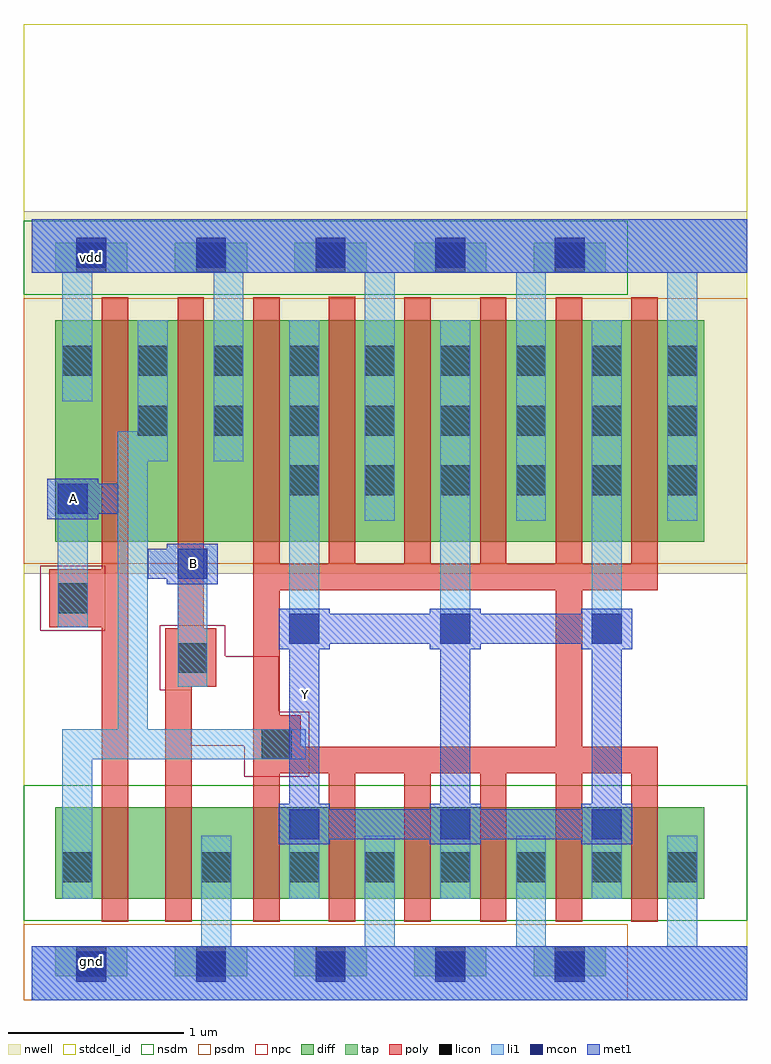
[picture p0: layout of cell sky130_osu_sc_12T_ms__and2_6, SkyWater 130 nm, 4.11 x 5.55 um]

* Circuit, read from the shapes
.subckt sky130_osu_sc_12T_ms__and2_6 A B Y gnd vdd
XM1 n1 A n2 gnd sky130_fd_pr__nfet_01v8 w=0.52 l=0.15
XM2 gnd B n1 gnd sky130_fd_pr__nfet_01v8 w=0.52 l=0.15
XM3 Y n2 gnd gnd sky130_fd_pr__nfet_01v8 w=0.52 l=0.15 m=6
XM4 n2 A vdd vdd sky130_fd_pr__pfet_01v8 w=1.26 l=0.15
XM5 vdd B n2 vdd sky130_fd_pr__pfet_01v8 w=1.26 l=0.15
XM6 Y n2 vdd vdd sky130_fd_pr__pfet_01v8 w=1.26 l=0.15 m=6
.ends

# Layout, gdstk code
import gdstk
lib = gdstk.Library(unit=1e-6, precision=1e-09)
def R(c, l, rs):  # rectangles x0, y0, x1, y1
    for r in rs: c.add(gdstk.rectangle(r[:2], r[2:], *l))
def A(c, l, x, y, w, h, nx, ny, dx, dy):  # array of equal rectangles
    R(c, l, [(x+i*dx, y+j*dy, x+i*dx+w, y+j*dy+h) for i in range(nx) for j in range(ny)])
nwell = (64, 20)
diff = (65, 20)
tap = (65, 44)
poly = (66, 20)
licon = (66, 44)
li1 = (67, 20)
mcon = (67, 44)
met1 = (68, 20)
stdcell_id = (81, 4)
nsdm = (93, 44)
psdm = (94, 20)
npc = (95, 20)

sky130_osu_sc_12t_ms__an = lib.new_cell('sky130_osu_sc_12T_ms__and2_6')
R(sky130_osu_sc_12t_ms__an, nwell, [(-0.045,2.425,4.07,4.485)])
R(sky130_osu_sc_12t_ms__an, diff, [(0.135,0.575,3.825,1.095), (0.135,2.605,3.825,3.865)])
A(sky130_osu_sc_12t_ms__an, tap, 0.135, 0.135, 0.41, 0.17, 5, 2, 0.68, 4)
A(sky130_osu_sc_12t_ms__an, poly, 1.26, 0.445, 0.15, 0.845, 6, 1, 0.43, 0)
A(sky130_osu_sc_12t_ms__an, poly, 2.12, 2.48, 0.15, 1.515, 4, 1, 0.43, 0)
R(sky130_osu_sc_12t_ms__an, poly, [(0.4,0.445,0.55,2.12), (0.76,0.445,0.91,1.78), (1.26,1.29,3.56,1.44), (1.26,1.44,1.53,1.62), (2.98,1.44,3.13,2.33), (1.26,1.62,1.41,2.33), (0.76,1.78,1.05,2.115), (0.83,2.115,0.98,3.995), (0.1,2.12,0.55,2.45), (1.26,2.33,3.56,2.48), (0.4,2.45,0.55,3.995), (1.26,2.48,1.41,3.995), (1.69,2.48,1.84,4)])
A(sky130_osu_sc_12t_ms__an, licon, 0.255, 0.135, 0.17, 0.17, 5, 2, 0.68, 4)
A(sky130_osu_sc_12t_ms__an, licon, 1.465, 0.67, 0.17, 0.17, 6, 2, 0.43, 2.2)
A(sky130_osu_sc_12t_ms__an, licon, 0.605, 3.21, 0.17, 0.17, 8, 1, 0.43, 0)
A(sky130_osu_sc_12t_ms__an, licon, 0.175, 3.55, 0.17, 0.17, 9, 1, 0.43, 0)
R(sky130_osu_sc_12t_ms__an, licon, [(0.175,0.67,0.345,0.84), (0.965,0.67,1.135,0.84), (1.31,1.37,1.48,1.54), (0.83,1.86,1,2.03), (0.15,2.2,0.32,2.37)])
A(sky130_osu_sc_12t_ms__an, li1, 1.895, 0.305, 0.17, 0.63, 3, 1, 0.86, 0)
A(sky130_osu_sc_12t_ms__an, li1, 1.465, 0.575, 0.17, 0.51, 3, 1, 0.86, 0)
A(sky130_osu_sc_12t_ms__an, li1, 1.465, 2.025, 0.17, 1.84, 3, 1, 0.86, 0)
A(sky130_osu_sc_12t_ms__an, li1, 1.895, 2.725, 0.17, 1.41, 3, 1, 0.86, 0)
R(sky130_osu_sc_12t_ms__an, li1, [(0,0,4.07,0.305), (0.965,0.305,1.135,0.935), (0.175,0.575,0.345,1.37), (0.175,1.37,1.56,1.54), (0.49,1.54,0.66,3.065), (0.83,1.78,1,2.565), (0.15,2.12,0.32,2.935), (0.49,3.065,0.775,3.235), (1.035,3.065,1.205,4.135), (0.605,3.235,0.775,3.865), (0.175,3.405,0.345,4.135), (0,4.135,4.07,4.44)])
A(sky130_osu_sc_12t_ms__an, mcon, 0.255, 0.105, 0.17, 0.17, 5, 2, 0.68, 4.06)
A(sky130_osu_sc_12t_ms__an, mcon, 1.465, 0.915, 0.17, 0.17, 3, 2, 0.86, 1.11)
R(sky130_osu_sc_12t_ms__an, mcon, [(0.83,2.395,1,2.565), (0.15,2.765,0.32,2.935)])
A(sky130_osu_sc_12t_ms__an, met1, 1.405, 0.885, 0.29, 0.03, 3, 2, 0.86, 0.2)
A(sky130_osu_sc_12t_ms__an, met1, 1.465, 1.115, 0.17, 0.88, 3, 1, 0.86, 0)
A(sky130_osu_sc_12t_ms__an, met1, 1.405, 1.995, 0.29, 0.03, 3, 2, 0.86, 0.2)
R(sky130_osu_sc_12t_ms__an, met1, [(0,0,4.07,0.305), (1.405,0.915,3.415,1.085), (1.405,2.025,3.415,2.195), (0.77,2.365,1.06,2.395), (0.66,2.395,1.06,2.565), (0.77,2.565,1.06,2.595), (0.09,2.735,0.38,2.765), (0.09,2.765,0.49,2.935), (0.09,2.935,0.38,2.965), (0,4.135,4.07,4.44)])
R(sky130_osu_sc_12t_ms__an, stdcell_id, [(-0.045,0,4.07,5.55)])
R(sky130_osu_sc_12t_ms__an, nsdm, [(-0.045,0.45,4.07,1.22), (-0.045,4.01,3.39,4.43)])
R(sky130_osu_sc_12t_ms__an, psdm, [(-0.045,0,3.39,0.43), (-0.045,2.48,4.07,3.99)])
R(sky130_osu_sc_12t_ms__an, npc, [(1.21,1.27,1.58,1.445), (0.905,1.445,1.58,1.64), (0.905,1.64,1.405,1.76), (0.73,1.76,1.405,1.955), (0.73,1.955,1.1,2.13), (0.05,2.1,0.42,2.47)])
sky130_osu_sc_12t_ms__an.add(gdstk.Label('vdd', (0.34,4.22), layer=68, texttype=16))
sky130_osu_sc_12t_ms__an.add(gdstk.Label('gnd', (0.34,0.22), layer=68, texttype=16))
sky130_osu_sc_12t_ms__an.add(gdstk.Label('B', (0.92,2.48), layer=68, texttype=5))
sky130_osu_sc_12t_ms__an.add(gdstk.Label('A', (0.24,2.85), layer=68, texttype=5))
sky130_osu_sc_12t_ms__an.add(gdstk.Label('Y', (1.555,1.74), layer=68, texttype=5))

lib.write_gds('sky130_osu_sc_12T_ms__and2_6.gds')
